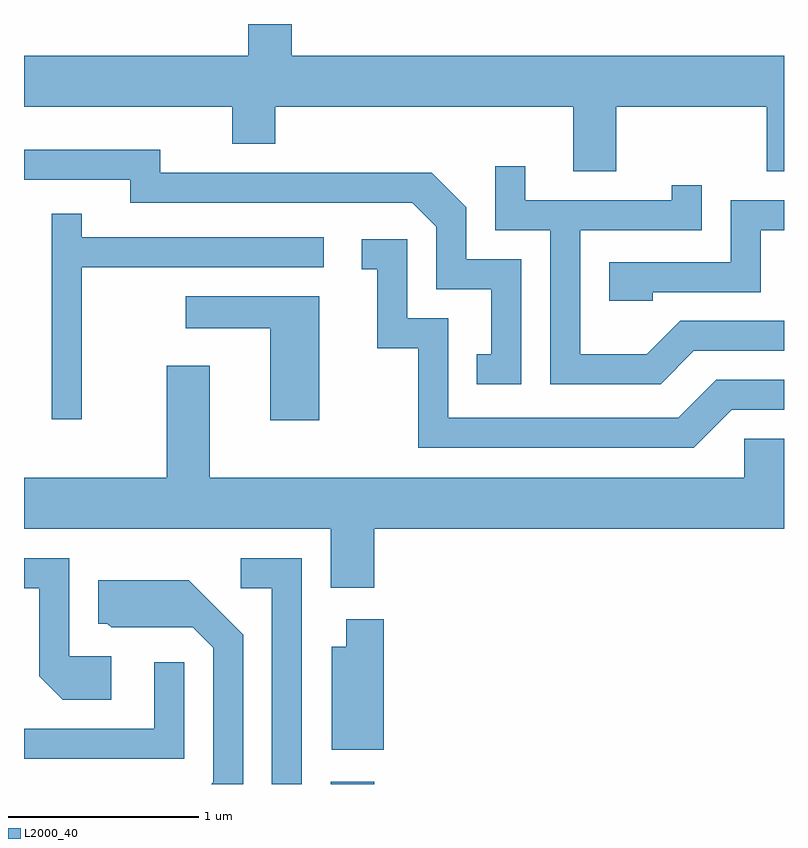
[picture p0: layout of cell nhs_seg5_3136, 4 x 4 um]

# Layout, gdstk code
import gdstk
lib = gdstk.Library(unit=1e-6, precision=1e-09)
def R(c, l, rs):  # rectangles x0, y0, x1, y1
    for r in rs: c.add(gdstk.rectangle(r[:2], r[2:], *l))
def P(c, l, *ps):  # polygons
    for p in ps: c.add(gdstk.Polygon(p, *l))
L2000_40 = (2000, 40)

nhs_seg5_3136 = lib.new_cell('nhs_seg5_3136')
R(nhs_seg5_3136, L2000_40, [(279.226,1502.072,279.454,1502.084)])
P(nhs_seg5_3136, L2000_40, [(280.729,1505.636),(281.521,1505.636),(281.521,1505.296),(281.611,1505.296),(281.611,1505.904),(279.019,1505.904),(279.019,1506.072),(278.791,1506.072),(278.791,1505.904),(277.611,1505.904),(277.611,1505.636),(278.706,1505.636),(278.706,1505.441),(278.934,1505.441),(278.934,1505.636),(280.501,1505.636),(280.501,1505.296),(280.729,1505.296)],
  [(280.229,1504.834),(279.939,1504.834),(279.939,1505.107),(279.757,1505.289),(278.329,1505.289),(278.329,1505.409),(277.611,1505.409),(277.611,1505.251),(278.171,1505.251),(278.171,1505.131),(279.654,1505.131),(279.781,1505.004),(279.781,1504.676),(280.071,1504.676),(280.071,1504.334),(279.993,1504.334),(279.993,1504.176),(280.229,1504.176)],
  [(281.137,1504.351),(281.611,1504.351),(281.611,1504.509),(281.064,1504.509),(280.889,1504.334),(280.539,1504.334),(280.539,1504.986),(281.179,1504.986),(281.179,1505.223),(281.021,1505.223),(281.021,1505.144),(280.249,1505.144),(280.249,1505.323),(280.091,1505.323),(280.091,1504.986),(280.381,1504.986),(280.381,1504.176),(280.962,1504.176)],
  [(280.919,1504.661),(281.489,1504.661),(281.489,1504.986),(281.611,1504.986),(281.611,1505.144),(281.331,1505.144),(281.331,1504.819),(280.691,1504.819),(280.691,1504.616),(280.919,1504.616)],
  [(277.914,1504.791),(279.188,1504.791),(279.188,1504.949),(277.914,1504.949),(277.914,1505.073),(277.756,1505.073),(277.756,1503.993),(277.914,1503.993)],
  [(281.337,1504.041),(281.611,1504.041),(281.611,1504.199),(281.254,1504.199),(281.054,1503.999),(279.844,1503.999),(279.844,1504.524),(279.629,1504.524),(279.629,1504.939),(279.388,1504.939),(279.388,1504.781),(279.471,1504.781),(279.471,1504.366),(279.686,1504.366),(279.686,1503.841),(281.137,1503.841)],
  [(279.164,1504.639),(278.463,1504.639),(278.463,1504.471),(278.906,1504.471),(278.906,1503.986),(279.164,1503.986)],
  [(279.454,1503.416),(281.611,1503.416),(281.611,1503.889),(281.401,1503.889),(281.401,1503.684),(278.589,1503.684),(278.589,1504.274),(278.361,1504.274),(278.361,1503.684),(277.611,1503.684),(277.611,1503.416),(279.226,1503.416),(279.226,1503.106),(279.454,1503.106)],
  [(279.074,1503.259),(278.753,1503.259),(278.753,1503.101),(278.916,1503.101),(278.916,1502.072),(279.074,1502.072)],
  [(278.069,1502.744),(277.849,1502.744),(277.849,1503.259),(277.611,1503.259),(277.611,1503.101),(277.691,1503.101),(277.691,1502.639),(277.814,1502.516),(278.069,1502.516)],
  [(278.764,1502.857),(278.477,1503.144),(278.001,1503.144),(278.001,1502.916),(278.049,1502.916),(278.069,1502.896),(278.499,1502.896),(278.606,1502.789),(278.606,1502.082),(278.596,1502.072),(278.764,1502.072)],
  [(279.504,1502.939),(279.306,1502.939),(279.306,1502.794),(279.231,1502.794),(279.231,1502.251),(279.504,1502.251)],
  [(278.454,1502.713),(278.296,1502.713),(278.296,1502.364),(277.611,1502.364),(277.611,1502.206),(278.454,1502.206)])

lib.write_gds('nhs_seg5_3136.gds')
